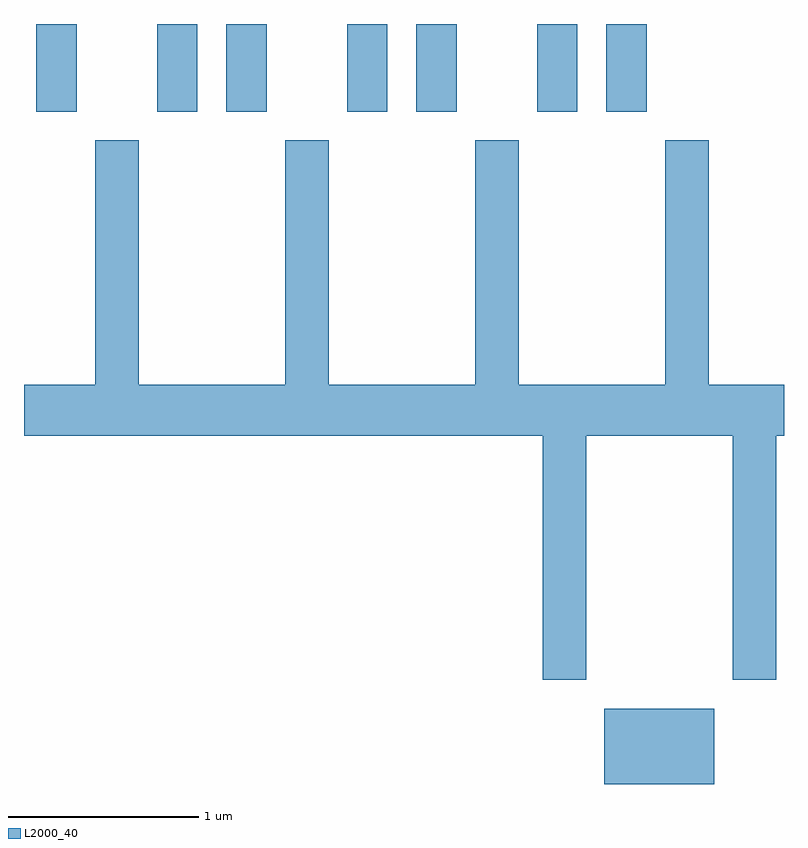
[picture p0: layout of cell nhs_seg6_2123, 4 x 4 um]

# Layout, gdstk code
import gdstk
lib = gdstk.Library(unit=1e-6, precision=1e-09)
def R(c, l, rs):  # rectangles x0, y0, x1, y1
    for r in rs: c.add(gdstk.rectangle(r[:2], r[2:], *l))
def P(c, l, *ps):  # polygons
    for p in ps: c.add(gdstk.Polygon(p, *l))
L2000_40 = (2000, 40)

nhs_seg6_2123 = lib.new_cell('nhs_seg6_2123')
R(nhs_seg6_2123, L2000_40, [(252.666,1588.162,253.244,1588.559), (249.676,1591.701,249.889,1592.162), (250.311,1591.701,250.524,1592.162), (250.676,1591.701,250.889,1592.162), (251.311,1591.701,251.524,1592.162), (251.676,1591.701,251.889,1592.162), (252.311,1591.701,252.524,1592.162), (252.676,1591.701,252.889,1592.162)])
P(nhs_seg6_2123, L2000_40, [(253.214,1591.549),(252.986,1591.549),(252.986,1590.264),(252.214,1590.264),(252.214,1591.549),(251.986,1591.549),(251.986,1590.264),(251.214,1590.264),(251.214,1591.549),(250.986,1591.549),(250.986,1590.264),(250.214,1590.264),(250.214,1591.549),(249.986,1591.549),(249.986,1590.264),(249.611,1590.264),(249.611,1589.996),(252.341,1589.996),(252.341,1588.711),(252.569,1588.711),(252.569,1589.996),(253.341,1589.996),(253.341,1588.711),(253.569,1588.711),(253.569,1589.996),(253.611,1589.996),(253.611,1590.264),(253.214,1590.264)])

lib.write_gds('nhs_seg6_2123.gds')
